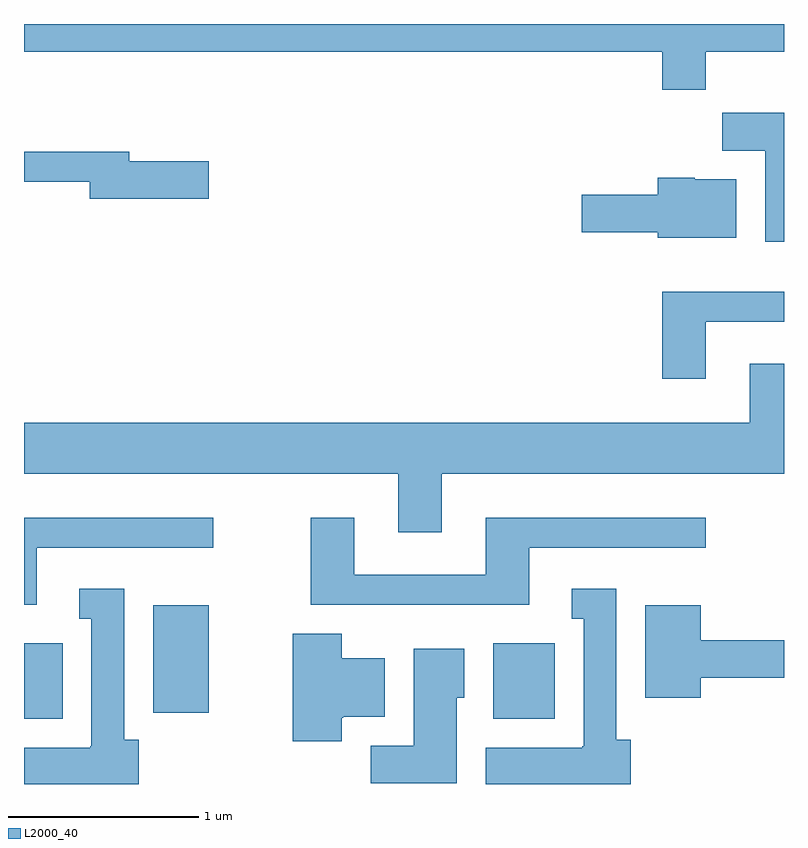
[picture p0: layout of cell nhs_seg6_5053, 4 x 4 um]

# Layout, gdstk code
import gdstk
lib = gdstk.Library(unit=1e-6, precision=1e-09)
def R(c, l, rs):  # rectangles x0, y0, x1, y1
    for r in rs: c.add(gdstk.rectangle(r[:2], r[2:], *l))
def P(c, l, *ps):  # polygons
    for p in ps: c.add(gdstk.Polygon(p, *l))
L2000_40 = (2000, 40)

nhs_seg6_5053 = lib.new_cell('nhs_seg6_5053')
R(nhs_seg6_5053, L2000_40, [(339.611,1566.506,339.814,1566.904), (342.081,1566.506,342.404,1566.904), (340.291,1566.536,340.584,1567.104)])
P(nhs_seg6_5053, L2000_40, [(343.199,1570.016),(343.611,1570.016),(343.611,1570.162),(339.611,1570.162),(339.611,1570.016),(342.971,1570.016),(342.971,1569.816),(343.199,1569.816)],
  [(343.611,1569.694),(343.286,1569.694),(343.286,1569.496),(343.511,1569.496),(343.511,1569.016),(343.611,1569.016)],
  [(340.584,1569.439),(340.164,1569.439),(340.164,1569.489),(339.611,1569.489),(339.611,1569.331),(339.956,1569.331),(339.956,1569.241),(340.584,1569.241)],
  [(343.359,1569.344),(343.14,1569.344),(343.14,1569.354),(342.946,1569.354),(342.946,1569.264),(342.546,1569.264),(342.546,1569.066),(342.946,1569.066),(342.946,1569.036),(343.359,1569.036)],
  [(343.199,1568.596),(343.611,1568.596),(343.611,1568.754),(342.971,1568.754),(342.971,1568.296),(343.199,1568.296)],
  [(339.611,1567.796),(341.581,1567.796),(341.581,1567.486),(341.809,1567.486),(341.809,1567.796),(343.611,1567.796),(343.611,1568.374),(343.431,1568.374),(343.431,1568.064),(339.611,1568.064)],
  [(342.269,1567.406),(343.198,1567.406),(343.198,1567.564),(342.041,1567.564),(342.041,1567.264),(341.349,1567.264),(341.349,1567.564),(341.121,1567.564),(341.121,1567.106),(342.269,1567.106)],
  [(339.679,1567.406),(340.608,1567.406),(340.608,1567.564),(339.611,1567.564),(339.611,1567.106),(339.679,1567.106)],
  [(340.214,1566.394),(340.139,1566.394),(340.139,1567.189),(339.903,1567.189),(339.903,1567.031),(339.966,1567.031),(339.966,1566.36),(339.96,1566.36),(339.96,1566.354),(339.611,1566.354),(339.611,1566.162),(340.214,1566.162)],
  [(342.804,1566.394),(342.729,1566.394),(342.729,1567.189),(342.493,1567.189),(342.493,1567.031),(342.556,1567.031),(342.556,1566.36),(342.55,1566.36),(342.55,1566.354),(342.041,1566.354),(342.041,1566.162),(342.804,1566.162)],
  [(343.174,1566.721),(343.611,1566.721),(343.611,1566.919),(343.174,1566.919),(343.174,1567.104),(342.881,1567.104),(342.881,1566.616),(343.174,1566.616)],
  [(341.284,1566.51),(341.29,1566.51),(341.29,1566.516),(341.509,1566.516),(341.509,1566.824),(341.284,1566.824),(341.284,1566.954),(341.026,1566.954),(341.026,1566.386),(341.284,1566.386)],
  [(341.889,1566.616),(341.929,1566.616),(341.929,1566.874),(341.661,1566.874),(341.661,1566.364),(341.436,1566.364),(341.436,1566.166),(341.889,1566.166)])

lib.write_gds('nhs_seg6_5053.gds')
